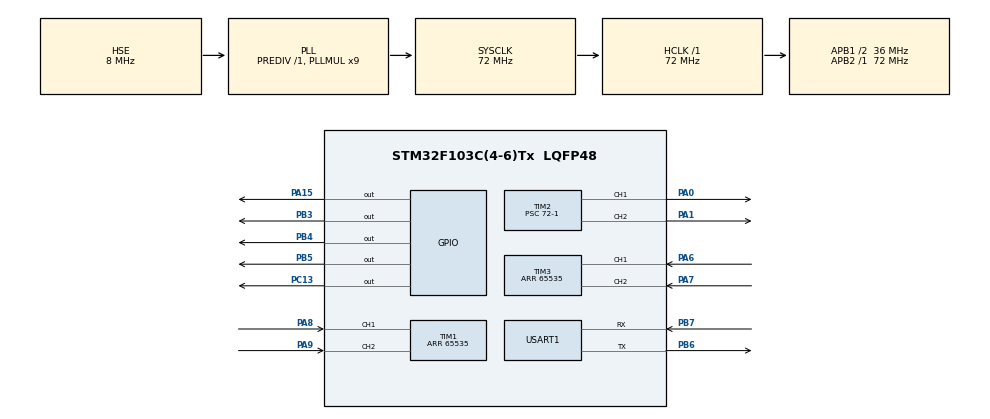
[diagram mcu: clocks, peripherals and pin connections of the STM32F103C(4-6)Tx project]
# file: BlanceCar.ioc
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Mcu.Family=STM32F1
Mcu.Name=STM32F103C(4-6)Tx
Mcu.Package=LQFP48
NVIC.PriorityGroup=NVIC_PRIORITYGROUP_4
NVIC.TIM2_IRQn=true\:0\:0\:false\:false\:true\:true\:true
NVIC.USART1_IRQn=true\:0\:0\:false\:false\:true\:true\:true
PA0-WKUP.Signal=S_TIM2_CH1_ETR
PA1.Signal=S_TIM2_CH2
PA13.Mode=Serial_Wire
PA13.Signal=SYS_JTMS-SWDIO
PA14.Mode=Serial_Wire
PA14.Signal=SYS_JTCK-SWCLK
PA15.Signal=GPIO_Output
PA6.Signal=S_TIM3_CH1
PA7.Signal=S_TIM3_CH2
PA8.Signal=S_TIM1_CH1
PA9.Signal=S_TIM1_CH2
PB3.Signal=GPIO_Output
PB4.Signal=GPIO_Output
PB5.Signal=GPIO_Output
PB6.Mode=Asynchronous
PB6.Signal=USART1_TX
PB7.Mode=Asynchronous
PB7.Signal=USART1_RX
PC13-TAMPER-RTC.Signal=GPIO_Output
PC14-OSC32_IN.Mode=LSE-External-Oscillator
PC14-OSC32_IN.Signal=RCC_OSC32_IN
PC15-OSC32_OUT.Mode=LSE-External-Oscillator
PC15-OSC32_OUT.Signal=RCC_OSC32_OUT
PD0-OSC_IN.Mode=HSE-External-Oscillator
PD0-OSC_IN.Signal=RCC_OSC_IN
PD1-OSC_OUT.Mode=HSE-External-Oscillator
PD1-OSC_OUT.Signal=RCC_OSC_OUT
ProjectManager.HeapSize=0x200
ProjectManager.StackSize=0x400
ProjectManager.TargetToolchain=MDK-ARM V5.27
RCC.AHBFreq_Value=72000000
RCC.APB1CLKDivider=RCC_HCLK_DIV2
RCC.APB1Freq_Value=36000000
RCC.APB1TimFreq_Value=72000000
RCC.APB2Freq_Value=72000000
RCC.APB2TimFreq_Value=72000000
RCC.HCLKFreq_Value=72000000
RCC.PLLMUL=RCC_PLL_MUL9
RCC.PLLSourceVirtual=RCC_PLLSOURCE_HSE
RCC.SYSCLKFreq_VALUE=72000000
RCC.SYSCLKSource=RCC_SYSCLKSOURCE_PLLCLK
RCC.USBFreq_Value=72000000
SH.S_TIM1_CH1.0=TIM1_CH1,Encoder_Interface
SH.S_TIM1_CH2.0=TIM1_CH2,Encoder_Interface
SH.S_TIM2_CH1_ETR.0=TIM2_CH1,PWM Generation1 CH1
SH.S_TIM2_CH2.0=TIM2_CH2,PWM Generation2 CH2
SH.S_TIM3_CH1.0=TIM3_CH1,Encoder_Interface
SH.S_TIM3_CH2.0=TIM3_CH2,Encoder_Interface
TIM1.EncoderMode=TIM_ENCODERMODE_TI12
TIM1.Period=65535
TIM2.Channel-PWM\ Generation1\ CH1=TIM_CHANNEL_1
TIM2.Channel-PWM\ Generation2\ CH2=TIM_CHANNEL_2
TIM2.Period=2000-1
TIM2.Prescaler=72-1
TIM3.EncoderMode=TIM_ENCODERMODE_TI12
TIM3.Period=65535
USART1.VirtualMode=VM_ASYNC
VP_TIM2_VS_ClockSourceINT.Mode=Internal
board=custom

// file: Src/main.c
/* USER CODE BEGIN Header */
/**
  ******************************************************************************
  * @file           : main.c
  * @brief          : Main program body
  ******************************************************************************
  * @attention
  *
  * <h2><center>&copy; Copyright (c) 2023 STMicroelectronics.
  * All rights reserved.</center></h2>
  *
  * This software component is licensed by ST under BSD 3-Clause license,
  * the "License"; You may not use this file except in compliance with the
  * License. You may obtain a copy of the License at:
  *                        opensource.org/licenses/BSD-3-Clause
  *
  ******************************************************************************
  */
/* USER CODE END Header */

#include "main.h"
#include "tim.h"
#include "usart.h"
#include "gpio.h"

/* USER CODE BEGIN Includes */
#include "jy901.h"
#include "pid.h"
#include "demo.h"
#include "moto.h"
#include "mypid.h"
#include "encoder.h"
int timer=0;
/* USER CODE END Includes */

void SystemClock_Config(void);
/* USER CODE BEGIN PFP */
void HAL_TIM_PeriodElapsedCallback(TIM_HandleTypeDef* htim)
{
	if(htim->Instance==TIM2)
	{
		timer++;
		x=JY901_data.angle.angle[0];
	    y=JY901_data.angle.angle[1];
		z=JY901_data.angle.angle[2];
		a=JY901_data.w.w[1];
//		realspeedMleft=Read_Mx_Encoder(1);
//		realspeedMright=Read_Mx_Encoder(3);

		//Motor_test();
		//CarStraight();
		MPU6050_Data_read();
		Smart_Car_Task();
	}

}
/* USER CODE END PFP */

/* USER CODE BEGIN 0 */
void HAL_UART_RxCpltCallback(UART_HandleTypeDef *UartHandle)
{

	if(UartHandle->Instance==USART1)
	{
		JY901_data.Rx_len=33;
		JY901_Process(&JY901_data);
		HAL_UART_Receive_IT(&huart1,JY901_data.RxBuffer,RXBUFFER_LEN);
	}
}
/* USER CODE END 0 */

int main(void)
{

  /* MCU Configuration--------------------------------------------------------*/

  /* Reset of all peripherals, Initializes the Flash interface and the Systick. */
  HAL_Init();

  /* Configure the system clock */
  SystemClock_Config();

  /* Initialize all configured peripherals */
  MX_GPIO_Init();
  MX_TIM2_Init();
  MX_USART1_UART_Init();
  MX_TIM1_Init();
  MX_TIM3_Init();
  /* USER CODE BEGIN 2 */
  User_USART_Init(&JY901_data);
  HAL_TIM_Base_Start_IT(&htim2);
  HAL_UART_Receive_IT(&huart1,JY901_data.RxBuffer,RXBUFFER_LEN);
  HAL_TIM_PWM_Start(&htim2,TIM_CHANNEL_1);
  HAL_TIM_PWM_Start(&htim2,TIM_CHANNEL_2);
  HAL_TIM_Encoder_Start(&htim1,TIM_CHANNEL_ALL);
  HAL_TIM_Encoder_Start(&htim3,TIM_CHANNEL_1);
  HAL_TIM_Encoder_Start(&htim3,TIM_CHANNEL_2);
  Pid_Init();
  Demo_Init();
  /* USER CODE END 2 */

  /* Infinite loop */
  while (1)
  {

  }
}

void SystemClock_Config(void)
{
  RCC_OscInitTypeDef RCC_OscInitStruct = {0};
  RCC_ClkInitTypeDef RCC_ClkInitStruct = {0};

  /** Initializes the CPU, AHB and APB busses clocks
  */
  RCC_OscInitStruct.OscillatorType = RCC_OSCILLATORTYPE_HSE;
  RCC_OscInitStruct.HSEState = RCC_HSE_ON;
  RCC_OscInitStruct.HSEPredivValue = RCC_HSE_PREDIV_DIV1;
  RCC_OscInitStruct.HSIState = RCC_HSI_ON;
  RCC_OscInitStruct.PLL.PLLState = RCC_PLL_ON;
  RCC_OscInitStruct.PLL.PLLSource = RCC_PLLSOURCE_HSE;
  RCC_OscInitStruct.PLL.PLLMUL = RCC_PLL_MUL9;
  if (HAL_RCC_OscConfig(&RCC_OscInitStruct) != HAL_OK)
  {
    Error_Handler();
  }
  /** Initializes the CPU, AHB and APB busses clocks
  */
  RCC_ClkInitStruct.ClockType = RCC_CLOCKTYPE_HCLK|RCC_CLOCKTYPE_SYSCLK
                              |RCC_CLOCKTYPE_PCLK1|RCC_CLOCKTYPE_PCLK2;
  RCC_ClkInitStruct.SYSCLKSource = RCC_SYSCLKSOURCE_PLLCLK;
  RCC_ClkInitStruct.AHBCLKDivider = RCC_SYSCLK_DIV1;
  RCC_ClkInitStruct.APB1CLKDivider = RCC_HCLK_DIV2;
  RCC_ClkInitStruct.APB2CLKDivider = RCC_HCLK_DIV1;

  if (HAL_RCC_ClockConfig(&RCC_ClkInitStruct, FLASH_LATENCY_2) != HAL_OK)
  {
    Error_Handler();
  }
}

void Error_Handler(void)
{
}

/************************ (C) COPYRIGHT STMicroelectronics *****END OF FILE****/
